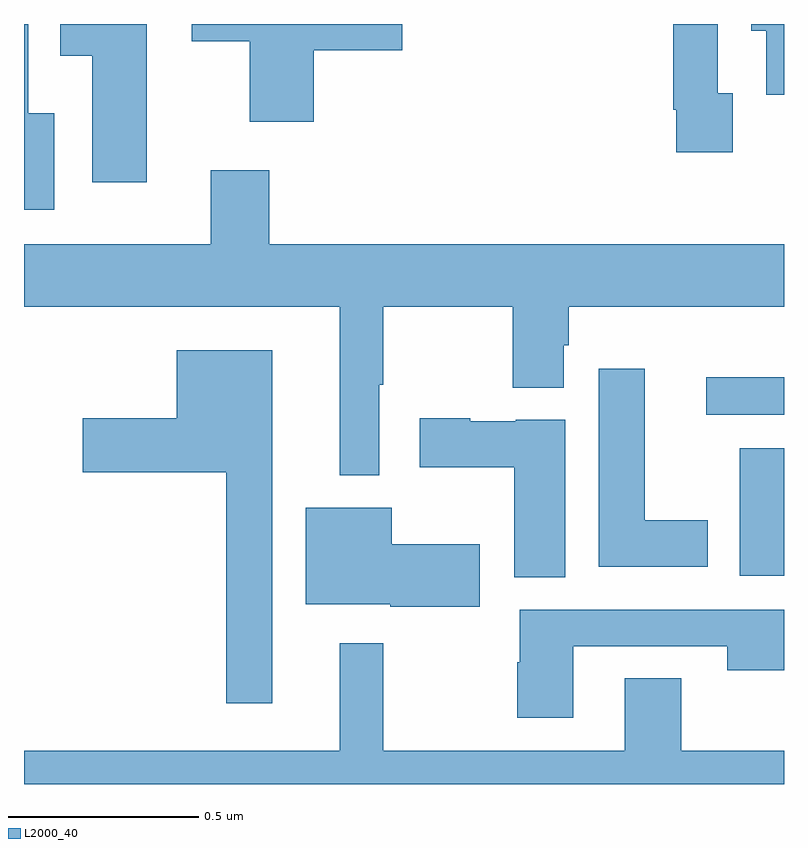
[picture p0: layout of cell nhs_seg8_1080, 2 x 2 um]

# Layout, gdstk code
import gdstk
lib = gdstk.Library(unit=1e-6, precision=1e-09)
def R(c, l, rs):  # rectangles x0, y0, x1, y1
    for r in rs: c.add(gdstk.rectangle(r[:2], r[2:], *l))
def P(c, l, *ps):  # polygons
    for p in ps: c.add(gdstk.Polygon(p, *l))
L2000_40 = (2000, 40)

nhs_seg8_1080 = lib.new_cell('nhs_seg8_1080')
R(nhs_seg8_1080, L2000_40, [(126.884,1126.448,127,1126.783), (126.795,1126.872,127,1126.97)])
P(nhs_seg8_1080, L2000_40, [(127,1127.9),(126.914,1127.9),(126.914,1127.882),(126.953,1127.882),(126.953,1127.714),(127,1127.714)],
  [(125.323,1127.9),(125.096,1127.9),(125.096,1127.816),(125.18,1127.816),(125.18,1127.484),(125.323,1127.484)],
  [(125.08,1127.665),(125.011,1127.665),(125.011,1127.9),(125,1127.9),(125,1127.411),(125.08,1127.411)],
  [(125.762,1127.831),(125.995,1127.831),(125.995,1127.9),(125.442,1127.9),(125.442,1127.854),(125.594,1127.854),(125.594,1127.643),(125.762,1127.643)],
  [(126.865,1127.718),(126.825,1127.718),(126.825,1127.9),(126.709,1127.9),(126.709,1127.674),(126.717,1127.674),(126.717,1127.562),(126.865,1127.562)],
  [(125.935,1126.951),(125.945,1126.951),(125.945,1127.156),(126.286,1127.156),(126.286,1126.943),(126.421,1126.943),(126.421,1127.055),(126.434,1127.055),(126.434,1127.156),(127,1127.156),(127,1127.32),(125.645,1127.32),(125.645,1127.515),(125.492,1127.515),(125.492,1127.32),(125,1127.32),(125,1127.156),(125.831,1127.156),(125.831,1126.712),(125.935,1126.712)],
  [(125.653,1127.041),(125.402,1127.041),(125.402,1126.863),(125.154,1126.863),(125.154,1126.721),(125.532,1126.721),(125.532,1126.113),(125.653,1126.113)],
  [(126.799,1126.594),(126.634,1126.594),(126.634,1126.993),(126.512,1126.993),(126.512,1126.472),(126.799,1126.472)],
  [(126.424,1126.858),(126.294,1126.858),(126.294,1126.855),(126.174,1126.855),(126.174,1126.863),(126.042,1126.863),(126.042,1126.733),(126.29,1126.733),(126.29,1126.444),(126.424,1126.444)],
  [(126.199,1126.531),(125.968,1126.531),(125.968,1126.627),(125.741,1126.627),(125.741,1126.373),(125.964,1126.373),(125.964,1126.366),(126.199,1126.366)],
  [(126.445,1126.263),(126.85,1126.263),(126.85,1126.2),(127,1126.2),(127,1126.359),(126.305,1126.359),(126.305,1126.221),(126.298,1126.221),(126.298,1126.074),(126.445,1126.074)],
  [(127,1125.988),(126.729,1125.988),(126.729,1126.178),(126.581,1126.178),(126.581,1125.988),(125.945,1125.988),(125.945,1126.27),(125.831,1126.27),(125.831,1125.988),(125,1125.988),(125,1125.9),(127,1125.9)])

lib.write_gds('nhs_seg8_1080.gds')
